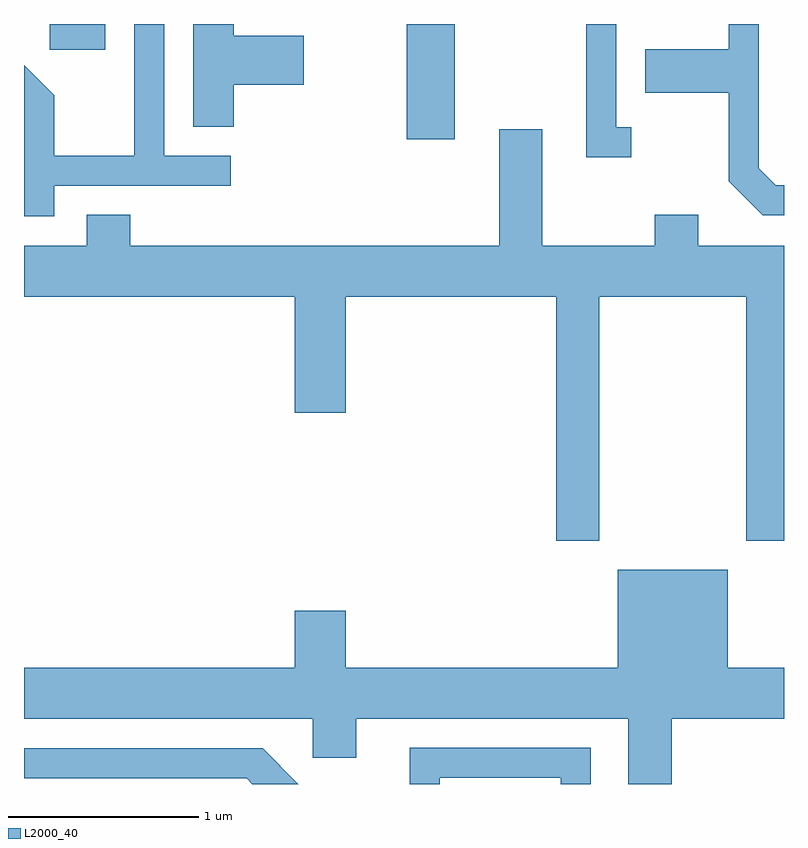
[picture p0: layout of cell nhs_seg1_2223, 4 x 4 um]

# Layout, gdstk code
import gdstk
lib = gdstk.Library(unit=1e-6, precision=1e-09)
def R(c, l, rs):  # rectangles x0, y0, x1, y1
    for r in rs: c.add(gdstk.rectangle(r[:2], r[2:], *l))
def P(c, l, *ps):  # polygons
    for p in ps: c.add(gdstk.Polygon(p, *l))
L2000_40 = (2000, 40)

nhs_seg1_2223 = lib.new_cell('nhs_seg1_2223')
R(nhs_seg1_2223, L2000_40, [(255.626,867.106,255.879,867.712), (253.746,867.576,254.039,867.712)])
P(nhs_seg1_2223, L2000_40, [(257.611,866.864),(257.567,866.864),(257.479,866.952),(257.479,867.712),(257.321,867.712),(257.321,867.579),(256.881,867.579),(256.881,867.351),(257.321,867.351),(257.321,866.884),(257.498,866.706),(257.611,866.706)],
  [(256.808,867.169),(256.729,867.169),(256.729,867.712),(256.571,867.712),(256.571,867.011),(256.808,867.011)],
  [(254.714,867.391),(255.084,867.391),(255.084,867.649),(254.714,867.649),(254.714,867.712),(254.501,867.712),(254.501,867.171),(254.714,867.171)],
  [(253.769,866.861),(254.698,866.861),(254.698,867.019),(254.349,867.019),(254.349,867.712),(254.191,867.712),(254.191,867.019),(253.769,867.019),(253.769,867.337),(253.611,867.495),(253.611,866.701),(253.769,866.701)],
  [(256.411,864.991),(256.639,864.991),(256.639,866.276),(257.411,866.276),(257.411,864.991),(257.611,864.991),(257.611,866.544),(257.159,866.544),(257.159,866.709),(256.931,866.709),(256.931,866.544),(256.339,866.544),(256.339,867.159),(256.111,867.159),(256.111,866.544),(254.169,866.544),(254.169,866.709),(253.941,866.709),(253.941,866.544),(253.611,866.544),(253.611,866.276),(255.036,866.276),(255.036,865.666),(255.304,865.666),(255.304,866.276),(256.411,866.276)],
  [(257.019,864.056),(257.611,864.056),(257.611,864.324),(257.314,864.324),(257.314,864.839),(256.736,864.839),(256.736,864.324),(255.304,864.324),(255.304,864.624),(255.036,864.624),(255.036,864.324),(253.611,864.324),(253.611,864.056),(255.131,864.056),(255.131,863.851),(255.359,863.851),(255.359,864.056),(256.791,864.056),(256.791,863.712),(257.019,863.712)],
  [(255.799,863.746),(256.436,863.746),(256.436,863.712),(256.594,863.712),(256.594,863.904),(255.641,863.904),(255.641,863.712),(255.799,863.712)],
  [(254.867,863.899),(253.611,863.899),(253.611,863.741),(254.784,863.741),(254.813,863.712),(255.054,863.712)])

lib.write_gds('nhs_seg1_2223.gds')
